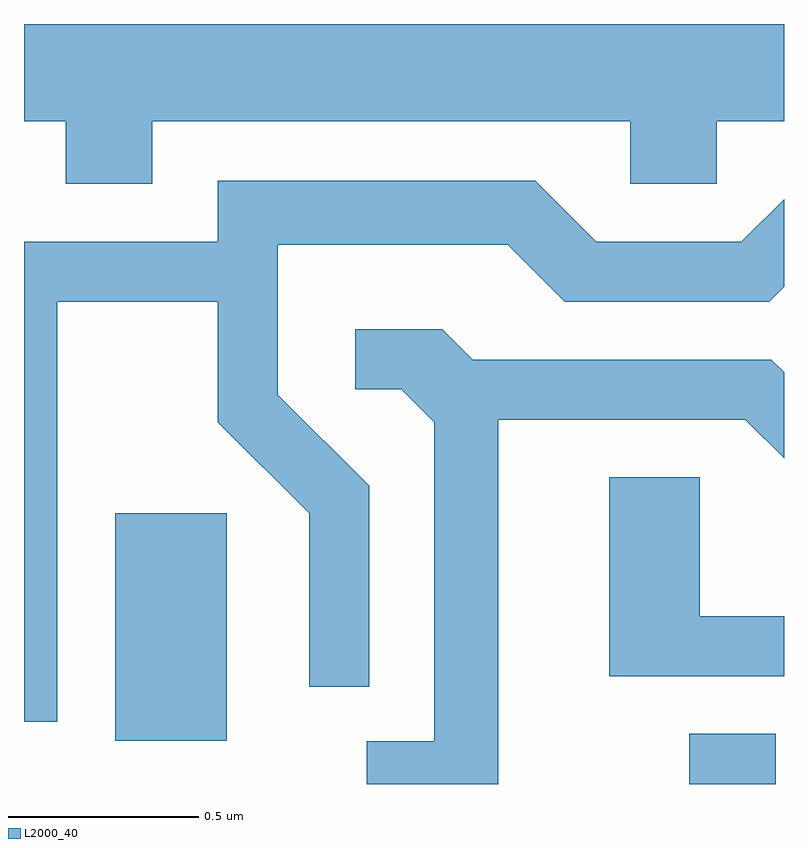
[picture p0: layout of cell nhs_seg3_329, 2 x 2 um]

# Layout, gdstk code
import gdstk
lib = gdstk.Library(unit=1e-6, precision=1e-09)
def R(c, l, rs):  # rectangles x0, y0, x1, y1
    for r in rs: c.add(gdstk.rectangle(r[:2], r[2:], *l))
def P(c, l, *ps):  # polygons
    for p in ps: c.add(gdstk.Polygon(p, *l))
L2000_40 = (2000, 40)

nhs_seg3_329 = lib.new_cell('nhs_seg3_329')
R(nhs_seg3_329, L2000_40, [(189.361,1170.892,189.589,1171.024), (187.851,1171.006,188.144,1171.604)])
P(nhs_seg3_329, L2000_40, [(187.949,1172.636),(189.206,1172.636),(189.206,1172.471),(189.434,1172.471),(189.434,1172.636),(189.611,1172.636),(189.611,1172.892),(187.611,1172.892),(187.611,1172.636),(187.721,1172.636),(187.721,1172.471),(187.949,1172.471)],
  [(187.699,1172.161),(188.121,1172.161),(188.121,1171.844),(188.361,1171.604),(188.361,1171.148),(188.519,1171.148),(188.519,1171.677),(188.279,1171.917),(188.279,1172.311),(188.884,1172.311),(189.034,1172.161),(189.572,1172.161),(189.611,1172.2),(189.611,1172.431),(189.499,1172.319),(189.117,1172.319),(188.957,1172.479),(188.121,1172.479),(188.121,1172.319),(187.611,1172.319),(187.611,1171.056),(187.699,1171.056)],
  [(188.859,1171.851),(189.509,1171.851),(189.611,1171.749),(189.611,1171.975),(189.577,1172.009),(188.792,1172.009),(188.712,1172.089),(188.483,1172.089),(188.483,1171.931),(188.604,1171.931),(188.691,1171.844),(188.691,1171.004),(188.513,1171.004),(188.513,1170.892),(188.859,1170.892)],
  [(189.611,1171.334),(189.389,1171.334),(189.389,1171.699),(189.151,1171.699),(189.151,1171.176),(189.611,1171.176)])

lib.write_gds('nhs_seg3_329.gds')
